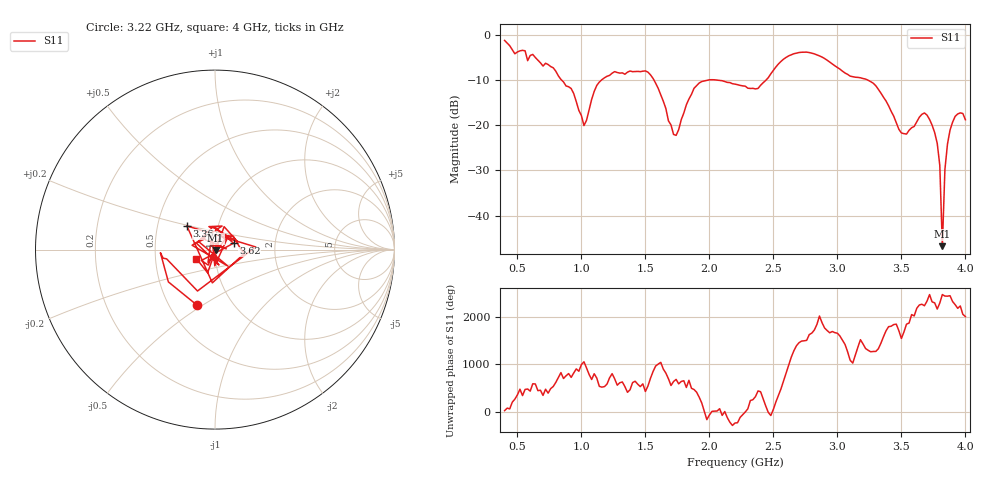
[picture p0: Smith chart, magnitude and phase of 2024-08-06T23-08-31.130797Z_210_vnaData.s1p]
!Created with skrf (http://scikit-rf.org).
# Hz S RI R 50.0
!freq ReS11 ImS11
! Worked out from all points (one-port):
!   181 points, 400 MHz to 4 GHz, reference 50 ohm
!   lowest |S11| = -46.8 dB at 3.82 GHz (marker M1), VSWR 1.01, Z = 50.3 - j0.359 ohm
!   |S11| at or under -10 dB: 1.567 GHz to 1.989 GHz (421.5 MHz wide, 23.7 % of centre); 2.066 GHz to 2.441 GHz (375.9 MHz wide, 16.7 % of centre); 3.24 GHz to end of sweep (the widest 3 of 4)
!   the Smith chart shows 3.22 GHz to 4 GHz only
!   S11 on the Smith chart (normalised r, x): 3.22 GHz: 0.68, -0.47; 3.36 GHz: 0.71, +0.19; 3.62 GHz: 1.23, +0.09; 4 GHz: 0.81, -0.08
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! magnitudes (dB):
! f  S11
! 400 MHz  -1.2
! 860 MHz  -10.4
! 940 MHz  -13.0
! 1.02 GHz  -20.0
! 1.12 GHz  -11.2
! 1.3 GHz  -8.4
! 1.52 GHz  -8.2
! 1.6 GHz  -11.8
! 1.72 GHz  -22.0
! 1.76 GHz  -21.0
! 1.92 GHz  -10.6
! 2.2 GHz  -10.9
! 2.38 GHz  -11.8
! 2.66 GHz  -4.1
! 3.1 GHz  -9.1
! 3.22 GHz  -9.8
! 3.36 GHz  -13.8
! 3.5 GHz  -21.7
! 3.56 GHz  -21.1
! 3.62 GHz  -19.2
! 3.7 GHz  -17.7
! 3.78 GHz  -24.0
! 3.8 GHz  -28.9
! 3.82 GHz  -46.8
! 3.84 GHz  -29.8
! 3.86 GHz  -24.2
! 3.92 GHz  -18.0
! 4 GHz  -18.8
